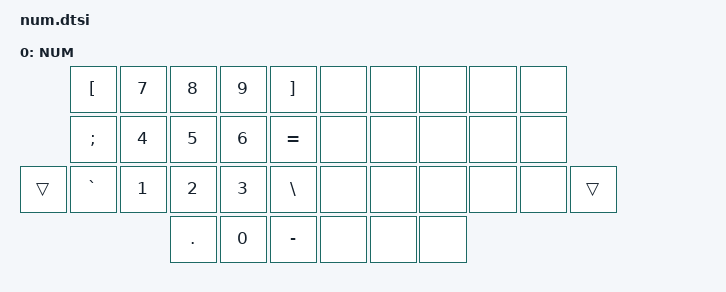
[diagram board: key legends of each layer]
/ {
    keymap {
        compatible = "zmk,keymap";

        num_layer {
            label = "NUM";
            bindings = <
  // Top row
                  &kp LBKT     &kp N7       &kp N8       &kp N9       &kp RBKT         &none        &none        &none         &none        &none

  // Home row
                  &kp SEMI     &kp N4       &kp N5       &kp N6       &kp EQUAL        &none        &none        &none         &none        &none

  // Bottom row (outer pinkies on far ends)
        &trans    &kp GRAVE    &kp N1       &kp N2       &kp N3       &kp BSLH         &none        &none        &none         &none        &none        &trans

  // Thumbs
                                        &kp DOT      &kp N0       &kp MINUS            &none        &none        &none
            >;
        };
    };
};
